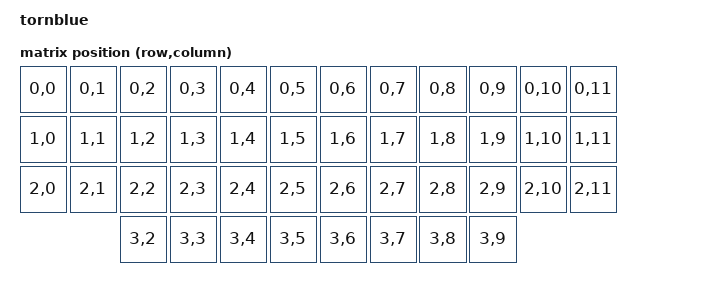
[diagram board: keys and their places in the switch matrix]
/*
 * Copyright (c) 2021 Richard Titmuss
 *
 * SPDX-License-Identifier: MIT
 */

/dts-v1/;
#include <nordic/nrf52840_qiaa.dtsi>
#include <dt-bindings/zmk/matrix_transform.h>

/ {
	model = "tornblue";
	compatible = "tornblue";

	chosen {
		zephyr,code-partition = &code_partition;
		zephyr,sram = &sram0;
		zephyr,flash = &flash0;
		zmk,kscan = &kscan0;
		zmk,matrix_transform = &default_transform;
		zmk,underglow = &led_strip;
	};

	default_transform: keymap_transform_0 {
		compatible = "zmk,matrix-transform";
		columns = <12>;
		rows = <4>;
// | SW1  | SW2  | SW3  | SW4  | SW5  | SW6  |   | SW6  | SW5  | SW4  | SW3  | SW2  | SW1  |
// | SW7  | SW8  | SW9  | SW10 | SW11 | SW12 |   | SW12 | SW11 | SW10 | SW9  | SW8  | SW7  |
// | SW13 | SW14 | SW15 | SW16 | SW17 | SW18 |   | SW18 | SW17 | SW16 | SW15 | SW14 | SW13 |
//               | SW19 | SW20 | SW21 | SW22 |   | SW22 | SW21 | SW20 | SW19 |
		map = <
RC(0,0) RC(0,1) RC(0,2) RC(0,3) RC(0,4) RC(0,5)  RC(0,6) RC(0,7) RC(0,8) RC(0,9) RC(0,10) RC(0,11)
RC(1,0) RC(1,1) RC(1,2) RC(1,3) RC(1,4) RC(1,5)  RC(1,6) RC(1,7) RC(1,8) RC(1,9) RC(1,10) RC(1,11)
RC(2,0) RC(2,1) RC(2,2) RC(2,3) RC(2,4) RC(2,5)  RC(2,6) RC(2,7) RC(2,8) RC(2,9) RC(2,10) RC(2,11)
                RC(3,2) RC(3,3) RC(3,4) RC(3,5)  RC(3,6) RC(3,7) RC(3,8) RC(3,9)
		>;
	};

	kscan0: kscan {
		compatible = "zmk,kscan-gpio-matrix";
		label = "KSCAN";

		diode-direction = "col2row";
	};

	vbatt {
		compatible = "zmk,battery-voltage-divider";
		label = "BATTERY";
		io-channels = <&adc 1>;
		output-ohms = <2000000>;
		full-ohms = <(2000000 + 806000)>;
	};

    aliases {
            led1 = &led1;
            led2 = &led2;
            led3 = &led3;
    };
};

&adc {
	status = "okay";
};

&gpiote {
	status = "okay";
};

&gpio0 {
	status = "okay";
};

&gpio1 {
	status = "okay";
};

&spi0 {
	compatible = "nordic,nrf-spim";
	// Cannot be used together with i2c0
	status = "okay";
	mosi-pin = <23>;
    // Unused pins, needed for SPI definition, but not used by the ws2812 driver itself.
	sck-pin = <6>;
	miso-pin = <8>;

	led_strip: ws2812@0 {
		compatible = "worldsemi,ws2812-spi";
		label = "WS2812";

		// SPI
		reg = <0>; /* ignored, but necessary for SPI bindings */
		spi-max-frequency = <4000000>;

		// WS2812
		chain-length = <6>; /* LED strip length */
		spi-one-frame = <0x70>;
		spi-zero-frame = <0x40>;
	};
};

&usbd {
	status = "okay";
};

&flash0 {
	/*
	 * For more information, see:
	 * http://docs.zephyrproject.org/latest/devices/dts/flash_partitions.html
	 */
	partitions {
		compatible = "fixed-partitions";
		#address-cells = <1>;
		#size-cells = <1>;

		sd_partition: partition@0 {
			label = "softdevice";
			reg = <0x00000000 0x00026000>;
		};
		code_partition: partition@26000 {
			label = "code_partition";
			reg = <0x00026000 0x000c6000>;
		};

		/*
		 * The flash starting at 0x000ec000 and ending at
		 * 0x000f3fff is reserved for use by the application.
		 */

		/*
		 * Storage partition will be used by FCB/LittleFS/NVS
		 * if enabled.
		 */
		storage_partition: partition@ec000 {
			label = "storage";
			reg = <0x000ec000 0x00008000>;
		};

		boot_partition: partition@f4000 {
			label = "adafruit_boot";
			reg = <0x000f4000 0x0000c000>;
		};
	};
};
